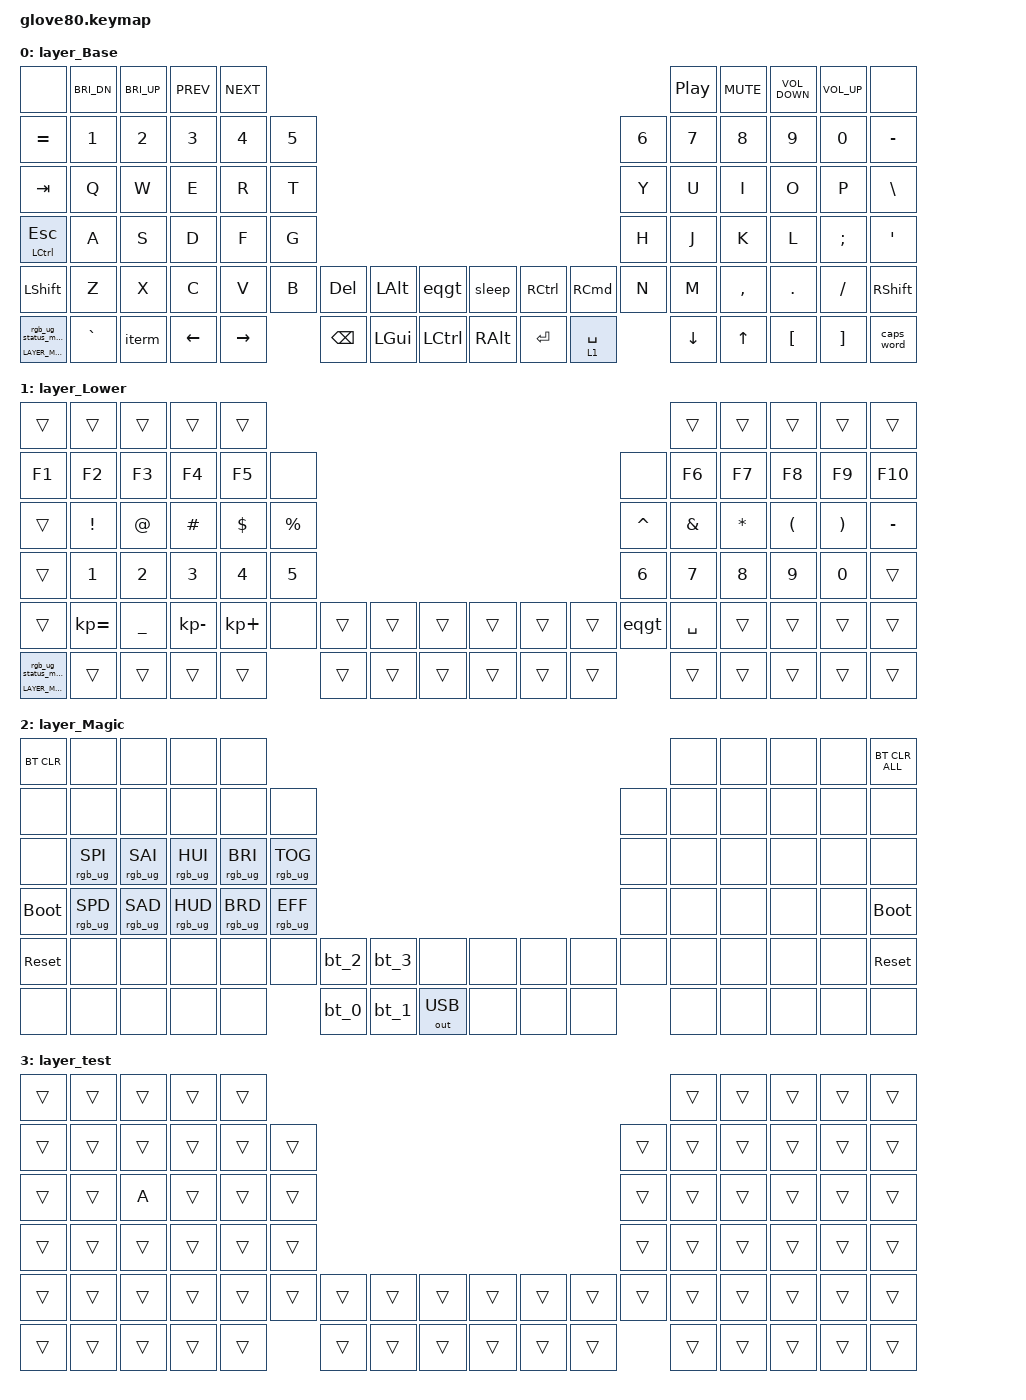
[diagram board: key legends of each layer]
#include <behaviors.dtsi>
#include <dt-bindings/zmk/bt.h>
#include <dt-bindings/zmk/keys.h>
#include <dt-bindings/zmk/outputs.h>
#include <dt-bindings/zmk/rgb.h>

#define LAYER_Base 0
#define LAYER_Lower 1
#define LAYER_Magic 2

/ {
    magic: magic {
        compatible = "zmk,behavior-hold-tap";
        label = "MAGIC_HOLD_TAP";
        #binding-cells = <2>;
        flavor = "tap-preferred";
        tapping-term-ms = <200>;
        bindings = <&mo>, <&rgb_ug_status_macro>;
    };

    macros {
        /* Glove80 system */

        rgb_ug_status_macro: rgb_ug_status_macro {
            label = "RGB_UG_STATUS";
            compatible = "zmk,behavior-macro";
            #binding-cells = <0>;
            bindings = <&rgb_ug RGB_STATUS>;
        };

        bt_0: bt_0 {
            label = "BT_0";
            compatible = "zmk,behavior-macro";
            #binding-cells = <0>;
            bindings = <&out OUT_BLE &bt BT_SEL 0>;
        };

        bt_1: bt_1 {
            label = "BT_1";
            compatible = "zmk,behavior-macro";
            #binding-cells = <0>;
            bindings = <&out OUT_BLE &bt BT_SEL 1>;
        };

        bt_2: bt_2 {
            label = "BT_2";
            compatible = "zmk,behavior-macro";
            #binding-cells = <0>;
            bindings = <&out OUT_BLE &bt BT_SEL 2>;
        };

        bt_3: bt_3 {
            label = "BT_3";
            compatible = "zmk,behavior-macro";
            #binding-cells = <0>;
            bindings = <&out OUT_BLE &bt BT_SEL 3>;
        };

        /* My custom macros */

        iterm: iterm {
            label = "iterm";
            compatible = "zmk,behavior-macro";
            #binding-cells = <0>;
            wait-ms = <40>;
            tap-ms = <40>;
            bindings =
                <&macro_press>,
                <&kp LALT>,
                <&macro_tap>,
                <&kp SPACE>,
                <&macro_release>,
                <&kp LALT>;
        };

        switchapps: switchapps {
            compatible = "zmk,behavior-macro";
            label = "SWITCHAPPS";
            #binding-cells = <0>;
            wait-ms = <40>;
            tap-ms = <40>;
            bindings =
                <&macro_press>,
                <&kp LCMD>,
                <&macro_tap>,
                <&kp TAB>,
                <&macro_pause_for_release>,
                <&macro_release>,
                <&kp LCMD>;
        };

        email: email {
            compatible = "zmk,behavior-macro";
            #binding-cells = <0>;
            bindings = <&kp L &kp E &kp O &kp R &kp O &kp B &kp I &kp N &kp O &kp V &kp I &kp T &kp C &kp H &kp AT_SIGN &kp G &kp M &kp A &kp I &kp L &kp PERIOD &kp C &kp O &kp M>;
            label = "EMAIL";
            tap-ms = <30>;
            wait-ms = <30>;
        };

        eqgt: eqgt {
            compatible = "zmk,behavior-macro";
            #binding-cells = <0>;
            bindings = <&kp KP_EQUAL &kp LS(GREATER_THAN)>;
            label = "EQGT";
            tap-ms = <30>;
            wait-ms = <30>;
        };

        sleep: sleep {
            compatible = "zmk,behavior-macro";
            #binding-cells = <0>;
            bindings =
                <&macro_press>,
                <&kp LCTRL &kp LCMD>,
                <&macro_tap>,
                <&kp Q>,
                <&macro_release>,
                <&kp LCTRL &kp LCMD>;

            label = "SLEEP";
        };
    };

    behaviors {
        lower: lower {
            compatible = "zmk,behavior-tap-dance";
            label = "LAYER_TAP_DANCE";
            #binding-cells = <0>;
            tapping-term-ms = <200>;
            bindings = <&mo LAYER_Lower>, <&to LAYER_Lower>;
        };

        ltb: layer_tap_balanced {
            compatible = "zmk,behavior-hold-tap";
            label = "LAYER_TAP_BALANCED";
            #binding-cells = <2>;
            flavor = "balanced";
            tapping-term-ms = <200>;
            bindings = <&mo>, <&kp>;

            retro-tap;
        };
    };

    combos {
        compatible = "zmk,combos";

        switch_apps_rh {
            bindings = <&switchapps>;
            key-positions = <60 61>;
            timeout-ms = <70>;
            slow-release;
        };

        ctrl_rh {
            bindings = <&kp LCTRL>;
            key-positions = <59 60>;
        };

        ctrl_lh {
            bindings = <&kp LCTRL>;
            key-positions = <49 50>;
        };

        switch_apps_lh {
            bindings = <&switchapps>;
            key-positions = <48 47>;
            timeout-ms = <70>;
            slow-release;
        };
    };

    keymap {
        compatible = "zmk,keymap";

        layer_Base {
            bindings = <
&none                 &kp C_BRI_DN  &kp C_BRI_UP  &kp C_PREV  &kp C_NEXT                                                                                    &kp C_PLAY_PAUSE  &kp C_MUTE  &kp C_VOLUME_DOWN  &kp C_VOLUME_UP  &none
&kp EQUAL             &kp N1        &kp N2        &kp N3      &kp N4      &kp N5                                                                    &kp N6  &kp N7            &kp N8      &kp N9             &kp N0           &kp MINUS
&kp TAB               &kp Q         &kp W         &kp E       &kp R       &kp T                                                                     &kp Y   &kp U             &kp I       &kp O              &kp P            &kp BSLH
&mt LCTRL ESC         &kp A         &kp S         &kp D       &kp F       &kp G                                                                     &kp H   &kp J             &kp K       &kp L              &kp SEMI         &kp SQT
&kp LSHFT             &kp Z         &kp X         &kp C       &kp V       &kp B   &kp DEL   &kp LALT  &eqgt      &sleep    &kp RCTRL  &kp RCMD      &kp N   &kp M             &kp COMMA   &kp DOT            &kp FSLH         &kp RSHFT
&magic LAYER_Magic 0  &kp GRAVE     &iterm        &kp LEFT    &kp RIGHT           &kp BSPC  &kp LGUI  &kp LCTRL  &kp RALT  &kp RET    &ltb 1 SPACE          &kp DOWN          &kp UP      &kp LBKT           &kp RBKT         &caps_word
            >;
        };

        layer_Lower {
            bindings = <
&trans                &trans        &trans          &trans        &trans                                                                             &trans     &trans    &trans    &trans    &trans
&kp F1                &kp F2        &kp F3          &kp F4        &kp F5       &none                                                      &none      &kp F6     &kp F7    &kp F8    &kp F9    &kp F10
&trans                &kp EXCL      &kp AT          &kp HASH      &kp DLLR     &kp PRCNT                                                  &kp CARET  &kp AMPS   &kp STAR  &kp LPAR  &kp RPAR  &kp MINUS
&trans                &kp N1        &kp N2          &kp N3        &kp N4       &kp N5                                                     &kp N6     &kp N7     &kp N8    &kp N9    &kp N0    &trans
&trans                &kp KP_EQUAL  &kp UNDERSCORE  &kp KP_MINUS  &kp KP_PLUS  &none      &trans  &trans  &trans  &trans  &trans  &trans  &eqgt      &kp SPACE  &trans    &trans    &trans    &trans
&magic LAYER_Magic 0  &trans        &trans          &trans        &trans                  &trans  &trans  &trans  &trans  &trans  &trans             &trans     &trans    &trans    &trans    &trans
            >;
        };

        layer_Magic {
            bindings = <
&bt BT_CLR   &none            &none            &none            &none                                                                                     &none  &none  &none  &none  &bt BT_CLR_ALL
&none        &none            &none            &none            &none            &none                                                             &none  &none  &none  &none  &none  &none
&none        &rgb_ug RGB_SPI  &rgb_ug RGB_SAI  &rgb_ug RGB_HUI  &rgb_ug RGB_BRI  &rgb_ug RGB_TOG                                                   &none  &none  &none  &none  &none  &none
&bootloader  &rgb_ug RGB_SPD  &rgb_ug RGB_SAD  &rgb_ug RGB_HUD  &rgb_ug RGB_BRD  &rgb_ug RGB_EFF                                                   &none  &none  &none  &none  &none  &bootloader
&sys_reset   &none            &none            &none            &none            &none            &bt_2  &bt_3  &none         &none  &none  &none  &none  &none  &none  &none  &none  &sys_reset
&none        &none            &none            &none            &none                             &bt_0  &bt_1  &out OUT_USB  &none  &none  &none         &none  &none  &none  &none  &none
            >;
        };

        layer_test {
            bindings = <
&trans  &trans  &trans  &trans  &trans                                                                  &trans  &trans  &trans  &trans  &trans
&trans  &trans  &trans  &trans  &trans  &trans                                                  &trans  &trans  &trans  &trans  &trans  &trans
&trans  &trans  &kp A   &trans  &trans  &trans                                                  &trans  &trans  &trans  &trans  &trans  &trans
&trans  &trans  &trans  &trans  &trans  &trans                                                  &trans  &trans  &trans  &trans  &trans  &trans
&trans  &trans  &trans  &trans  &trans  &trans  &trans  &trans  &trans  &trans  &trans  &trans  &trans  &trans  &trans  &trans  &trans  &trans
&trans  &trans  &trans  &trans  &trans          &trans  &trans  &trans  &trans  &trans  &trans          &trans  &trans  &trans  &trans  &trans
            >;
        };
    };
};
